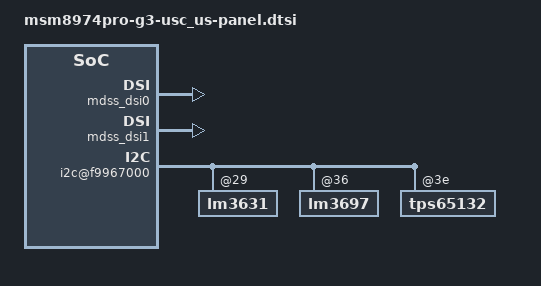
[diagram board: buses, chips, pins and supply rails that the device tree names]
/* Copyright (c) 2012, Code Aurora Forum. All rights reserved.
 *
 * This program is free software; you can redistribute it and/or modify
 * it under the terms of the GNU General Public License version 2 and
 * only version 2 as published by the Free Software Foundation.
 *
 * This program is distributed in the hope that it will be useful,
 * but WITHOUT ANY WARRANTY; without even the implied warranty of
 * MERCHANTABILITY or FITNESS FOR A PARTICULAR PURPOSE.  See the
 * GNU General Public License for more details.
 */

&mdss_dsi0 {
	status = "ok";
};

&mdss_dsi1 {
	status = "ok";
};

&soc {
	i2c@f9967000 {
		lm3631@29{
			status = "ok";
			revision = "rev_a";
		};
		lm3697@36{
			status = "ok";
			revision = "rev_b...";
			lcd_bl {
				lge,hvled = <
					12 12  // evb1  = hvled1, hvled2  ; evb2  = hvled1, hvled2
					12 23  // rev_a = hvled1, hvled2 ; rev_b = hvled2, hvled3
					12 12  // rev_c = hvled1, hvled2 ; rev_d = hvled1, hvled2
					12 12  // rev_e = hvled1, hvled2 ; rev_f = hvled1, hvled2
					12 12  // rev_g = hvled1, hvled2 ; rev_h = hvled1, hvled2
					12 12  // rev_10 = hvled1, hvled2 ; rev_11 = hvled1, hvled2
					12     // rev_12 = hvled1, hvled2
					>;
			};
		};
		tps65132@3e {
			status = "ok";
			revision = "rev_b...";
		};
	};
};
